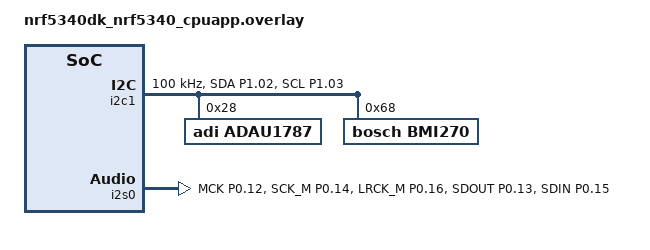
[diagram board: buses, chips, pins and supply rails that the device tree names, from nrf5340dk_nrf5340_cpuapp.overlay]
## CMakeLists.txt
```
# SPDX-License-Identifier: Apache-2.0

cmake_minimum_required(VERSION 3.20.0)

# Flag which defines whether application is compiled as gateway/dongle or headset
add_compile_definitions(HEADSET=1)
add_compile_definitions(GATEWAY=2)

find_package(Zephyr REQUIRED HINTS $ENV{ZEPHYR_BASE})
project(tiresias-fw)

target_sources(app PRIVATE src/main.c)

set(CMAKE_EXPORT_COMPILE_COMMANDS ON)

zephyr_library_include_directories(
  include
  src/application
  src/system_modules
  src/bluetooth
  src/audio
  src/audio/drivers
  src/SigmaStudioFiles
  src/utils
)

add_subdirectory(src/application)
add_subdirectory(src/system_modules)
add_subdirectory(src/bluetooth)
add_subdirectory(src/audio)
add_subdirectory(src/SigmaStudioFiles)
add_subdirectory(src/utils)
```

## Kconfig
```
# Main Kconfig file for Tiresias Firmware

menu "Tiresias"

menu "Base"

config PRINT_BANNER
	bool "Print Tiresias banner on the console"
	default y
	help
	  Prints the full Tiresias ASCII banner on the console (takes more lines).

choice AUDIO_CODEC
	prompt "Choose which audio codec is connected to the board"
	default AUDIO_CODEC_ADAU1787

config NO_AUDIO_CODEC
	bool "No audio codec connected"
  help
     No audio codec enabled.

config AUDIO_CODEC_ADAU1787
	bool "ADAU1787"
  help
     ADAU1787 audio codec enabled.

endchoice

config CUSTOM_BROADCASTER
	bool "Allow custom broadcasters"
	default n
	help
	  Incomplete feature for now, but will introduce support for multiple BIGs and subgroups.

config AUDIO_DEV
	int "Select which device type to compile for. 1=HEADSET or 2=GATEWAY"
	range 1 2
	default 1
	help
	  Setting this variable to 1 selects that the project is compiled
	  as a HEADSET device.
	  Setting to 2 will compile as a GATEWAY.

choice NRF5340_AUDIO_TRANSPORT_MODE
	prompt "Choose BIS or CIS for ISO transport"
	default TRANSPORT_BIS

config TRANSPORT_BIS
	bool "Use BIS (Broadcast Isochronous Stream)"

config TRANSPORT_CIS
	bool "Use CIS (Connected Isochronous Stream)"

endchoice

endmenu # Base

rsource "src/audio/Kconfig"
rsource "src/bluetooth/Kconfig"

endmenu # Tiresias

# Include Zephyr's Kconfig
source "Kconfig.zephyr"
```

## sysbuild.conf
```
SB_CONFIG_BOOTLOADER_MCUBOOT=y
SB_CONFIG_MCUBOOT_USE_ALL_AVAILABLE_RAM=y
# Configure project to use external flash for DFU
SB_CONFIG_PM_EXTERNAL_FLASH_MCUBOOT_SECONDARY=y
# Add b0n image
SB_CONFIG_SECURE_BOOT_NETCORE=y
# Set up multiple partitions
SB_CONFIG_MCUBOOT_UPDATEABLE_IMAGES=2
# Add support to netcore for DFU
SB_CONFIG_NETCORE_APP_UPDATE=y
# Add support to mcuboot for updating two cores simultaneously
SB_CONFIG_MCUBOOT_NRF53_MULTI_IMAGE_UPDATE=y
# Simultaneous FOTA does not support rollback
SB_CONFIG_MCUBOOT_MODE_OVERWRITE_ONLY=y
```

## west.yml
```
manifest:
  self:
    path: tiresias-fw
  remotes:
    - name: nrf
      url-base: https://github.com/nrfconnect
  projects:
    - name: sdk-nrf
      remote: nrf
      path: nrf
      revision: v3.0.1
      import:
        path-prefix: external
      clone-depth: 1
```

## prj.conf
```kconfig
# I2S
CONFIG_I2S=y
CONFIG_NRFX_I2S0=y
CONFIG_I2S_NRFX=n
CONFIG_SERIAL=y
# Sensor 
CONFIG_SENSOR=y
CONFIG_BMI270=y
# Bluetooth
CONFIG_BT=y
CONFIG_BT_PERIPHERAL=y
CONFIG_BT_DEVICE_NAME="Tiresias_DK"
CONFIG_BT_GATT_DYNAMIC_DB=y
CONFIG_BT_SMP=y
CONFIG_BT_MAX_CONN=1
CONFIG_BT_RX_STACK_SIZE=2048
CONFIG_SYSTEM_WORKQUEUE_STACK_SIZE=2048
CONFIG_BT_PERIPHERAL_PREF_MIN_INT=6
CONFIG_BT_PERIPHERAL_PREF_MAX_INT=6
CONFIG_BT_BUF_ACL_TX_COUNT=20
CONFIG_BT_L2CAP_TX_BUF_COUNT=20
# CONFIG_BT_CONN_TX_MAX=10
# MCUMGR
CONFIG_MCUMGR=y
CONFIG_MCUMGR_TRANSPORT_BT=y
CONFIG_MCUMGR_GRP_OS=y
CONFIG_MCUMGR_GRP_IMG=y
CONFIG_MCUMGR_GRP_SHELL=y
CONFIG_STATS=y
CONFIG_MCUMGR_GRP_STAT=y
CONFIG_SHELL=y
CONFIG_BT_SHELL=y
CONFIG_SHELL_BACKEND_DUMMY=y
# GPIO
CONFIG_GPIO=y
# Debug
CONFIG_DEBUG_THREAD_INFO=y
CONFIG_DEBUG_OPTIMIZATIONS=y
# Log
CONFIG_LOG=y
CONFIG_LOG_MODE_DEFERRED=n
# Enable RTT
CONFIG_USE_SEGGER_RTT=y
CONFIG_LOG_BACKEND_RTT=y
CONFIG_LOG_BACKEND_SHOW_COLOR=n
CONFIG_LOG_MODE_IMMEDIATE=y
# Enables console over RTT
CONFIG_RTT_CONSOLE=y
CONFIG_CONSOLE=y
# Enables float in RTT 
CONFIG_CBPRINTF_FP_SUPPORT=y
CONFIG_NEWLIB_LIBC=y
CONFIG_NEWLIB_LIBC_FLOAT_PRINTF=y
# ZBUS
CONFIG_ZBUS=y
CONFIG_ZBUS_LOG_LEVEL_INF=y
CONFIG_ZBUS_RUNTIME_OBSERVERS=y
# Stacks and heaps
CONFIG_MAIN_STACK_SIZE=16384
CONFIG_HEAP_MEM_POOL_SIZE=16384
# I2C
CONFIG_I2C=y
CONFIG_NRFX_TWIM1=y
CONFIG_NRFX_TIMER1=y
# NFC pins disable
# CONFIG_NFCT_PINS_AS_GPIOS=y
# Storage
CONFIG_FLASH=y
CONFIG_FLASH_MAP=y
CONFIG_NVS=y
CONFIG_MPU_ALLOW_FLASH_WRITE=y
# Tiresias
# CONFIG_NO_AUDIO_CODEC=y
CONFIG_AUDIO_CODEC_ADAU1787=y
# FOTA
CONFIG_NCS_SAMPLE_MCUMGR_BT_OTA_DFU=y
```

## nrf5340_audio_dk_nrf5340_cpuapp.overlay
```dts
// To get started, press Ctrl+Space (or Option+Esc) to bring up the completion menu and view the available nodes.

// You can also use the buttons in the sidebar to perform actions on nodes.
// Actions currently available include:

// * Enabling / disabling the node
// * Adding the bus to a bus
// * Removing the node
// * Connecting ADC channels

// For more help, browse the DeviceTree documentation at https: //docs.zephyrproject.org/latest/guides/dts/index.html
// You can also visit the nRF DeviceTree extension documentation at https: //docs.nordicsemi.com/bundle/nrf-connect-vscode/page/guides/ncs_configure_app.html#devicetree-support-in-the-extension

&i2c1 {
  status = "okay";
  compatible = "nordic,nrf-twim";
  label = "I2C_1";
  pinctrl-0 = <&i2c1_default>;
  pinctrl-1 = <&i2c1_sleep>;
  pinctrl-names = "default", "sleep";
  clock-frequency = <I2C_BITRATE_STANDARD>;
  zephyr,concat-buf-size = <4092>;
  zephyr,flash-buf-max-size = <4092>;

  adau_1787: adau_1787@28 {
    compatible = "adi,adau1787", "i2c-device";
    status = "okay";
    reg = <0x28>;
    label = "adau1787";
    powerdown-gpios = <&gpio1 0 GPIO_ACTIVE_LOW>;
  };
};

&pinctrl {
  i2c1_default: i2c1_default{
    group1 {
      psels = <NRF_PSEL(TWIM_SDA, 1, 02)>,
              <NRF_PSEL(TWIM_SCL, 1, 03)>;
    };
  };

  i2c1_sleep: i2c1_sleep{
    group1 {
      psels = <NRF_PSEL(TWIM_SDA, 1, 02)>,
              <NRF_PSEL(TWIM_SCL, 1, 03)>;
      low-power-enable;
    };
  };
};
```

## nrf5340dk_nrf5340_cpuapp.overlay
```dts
&i2c1 {
  status = "okay";
  compatible = "nordic,nrf-twim";
  label = "I2C_1";
  pinctrl-0 = <&i2c1_default>;
  pinctrl-1 = <&i2c1_sleep>;
  pinctrl-names = "default", "sleep";
  clock-frequency = <I2C_BITRATE_STANDARD>;
  zephyr,concat-buf-size = <4092>;
  zephyr,flash-buf-max-size = <4092>;

  adau_1787: adau_1787@28 {
    compatible = "adi,adau1787", "i2c-device";
    status = "okay";
    reg = <0x28>;
    label = "adau1787";
  };

  bmi270: bmi270@68 {
    compatible = "bosch,bmi270";
    status = "okay";
    reg = <0x68>;
    label = "bmi270";
    // irq-gpios = <&gpio0 6 GPIO_ACTIVE_HIGH>, <&gpio0 5 GPIO_ACTIVE_HIGH>;
  };
};

&i2s0 {
  compatible = "nordic,nrf-i2s";
  status = "okay";
  pinctrl-0 = <&i2s0_default>;
  pinctrl-1 = <&i2s0_sleep>;
  pinctrl-names = "default", "sleep";
  clock-source = "PCLK32M";  // Use internal HFCLK
};

&pinctrl {
  i2c1_default: i2c1_default {
    group1 {
      psels = <NRF_PSEL(TWIM_SDA, 1, 02)>,
              <NRF_PSEL(TWIM_SCL, 1, 03)>;
    };
  };

  i2c1_sleep: i2c1_sleep {
    group1 {
      psels = <NRF_PSEL(TWIM_SDA, 1, 02)>,
              <NRF_PSEL(TWIM_SCL, 1, 03)>;
      low-power-enable;
    };
  };

  i2s0_default: i2s0_default {
    group1 {
      psels = <NRF_PSEL(I2S_MCK, 0, 12)>;
      nordic,drive-mode = <NRF_DRIVE_H0H1>;
    };
    group2 {
      psels = <NRF_PSEL(I2S_SCK_M, 0, 14)>,
              <NRF_PSEL(I2S_LRCK_M, 0, 16)>,
              <NRF_PSEL(I2S_SDOUT, 0, 13)>,
              <NRF_PSEL(I2S_SDIN, 0, 15)>;
    };
  };

  i2s0_sleep: i2s0_sleep {
    group1 {
      psels = <NRF_PSEL(I2S_MCK, 0, 12)>,
              <NRF_PSEL(I2S_SCK_M, 0, 14)>,
              <NRF_PSEL(I2S_LRCK_M, 0, 16)>,
              <NRF_PSEL(I2S_SDOUT, 0, 13)>,
              <NRF_PSEL(I2S_SDIN, 0, 15)>;
      low-power-enable;
    };
  };
};

/ {
  chosen {
    nordic,pm-ext-flash = &mx25r64;
  };
};
```

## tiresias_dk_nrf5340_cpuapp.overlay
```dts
&mx25r16 {
  status = "okay";
};

/ {
  chosen {
    nordic,pm-ext-flash = &mx25r16;
  };
};
```

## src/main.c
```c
#include "application/controller.h"
#include "print_version.h"
#include "services/audio_codec/audio_codec.h"
#include "services/bluetooth/bluetooth.h"
#include "system_modules/peripheral/button.h"
#include "system_modules/peripheral/led.h"
#include "system_modules/storage/storage.h"
#include "utils/macros_common.h"
#include <ctype.h>
#include <stdint.h>
#include <stdlib.h>
#include <zephyr/logging/log.h>

LOG_MODULE_REGISTER(Main_app, LOG_LEVEL_INF);
ZBUS_CHAN_DECLARE(led_chan);

int main(void)
{
  int ret = 0;
  PRINT_TIRESIAS_BANNER();
  PRINT_FIRMWARE_VERSION();

  ret = init_button();
  ERR_CHK(ret);

  ret = init_led();
  ERR_CHK(ret);

  ret = orientation_init();
  ERR_CHK(ret);

  ret = init_storage();
  ERR_CHK(ret);

  struct led_chan_msg_t led_msg;

  led_msg.led = LED_3;
  led_msg.cmd = TURN_ON;
  
  int err = zbus_chan_pub(&led_chan, &led_msg, K_MSEC(100));
  if (err) {
    LOG_ERR("Failed to publish Bluetooth state change: %d", err);
  }

  ret = controller_init();
  ERR_CHK_MSG(ret, "Failed to initialize controller module");

  return ret;
}
```

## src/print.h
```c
#ifndef PRINT_H
#define PRINT_H

#include <app_version.h>
#include <zephyr/sys/printk.h>

#define PRINT_TIRESIAS_BANNER()                                                                                        \
  do {                                                                                                                 \
    printk(" _____ _               _            \n");                                                                  \
    printk("|_   _(_)_ __ ___  ___(_) __ _ ___  \n");                                                                  \
    printk("  | | | | '__/ _ \\/ __| |/ _` / __| \n");                                                                 \
    printk("  | | | | | |  __/\\__ \\ | (_| \\__ \\ \n");                                                              \
    printk("  |_| |_|_|  \\___||___/_|\\__,_|___/ ");                                                                  \
  } while (0)

#define PRINT_FIRMWARE_VERSION()                                                                                       \
  do {                                                                                                                 \
    printk("v%s\n\n", APP_VERSION_EXTENDED_STRING);                                                                    \
  } while (0)

#endif // PRINT_H
```

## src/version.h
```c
/**
 * @file version.h
 * @brief Version information for the Tiresias firmware
 */

#ifndef VERSION_H
#define VERSION_H

/**
 * @brief Version information following Semantic Versioning 2.0.0
 * @see https://semver.org/
 *
 * MAJOR version when you make incompatible API changes
 * MINOR version when you add functionality in a backward compatible manner
 * PATCH version when you make backward compatible bug fixes
 */
#define TIRESIAS_VERSION_MAJOR 0
#define TIRESIAS_VERSION_MINOR 3
#define TIRESIAS_VERSION_PATCH 0

/**
 * @brief Version string in format MAJOR.MINOR.PATCH
 */
#define TIRESIAS_VERSION_STRING "0.3.0"

#endif /* VERSION_H */
```
